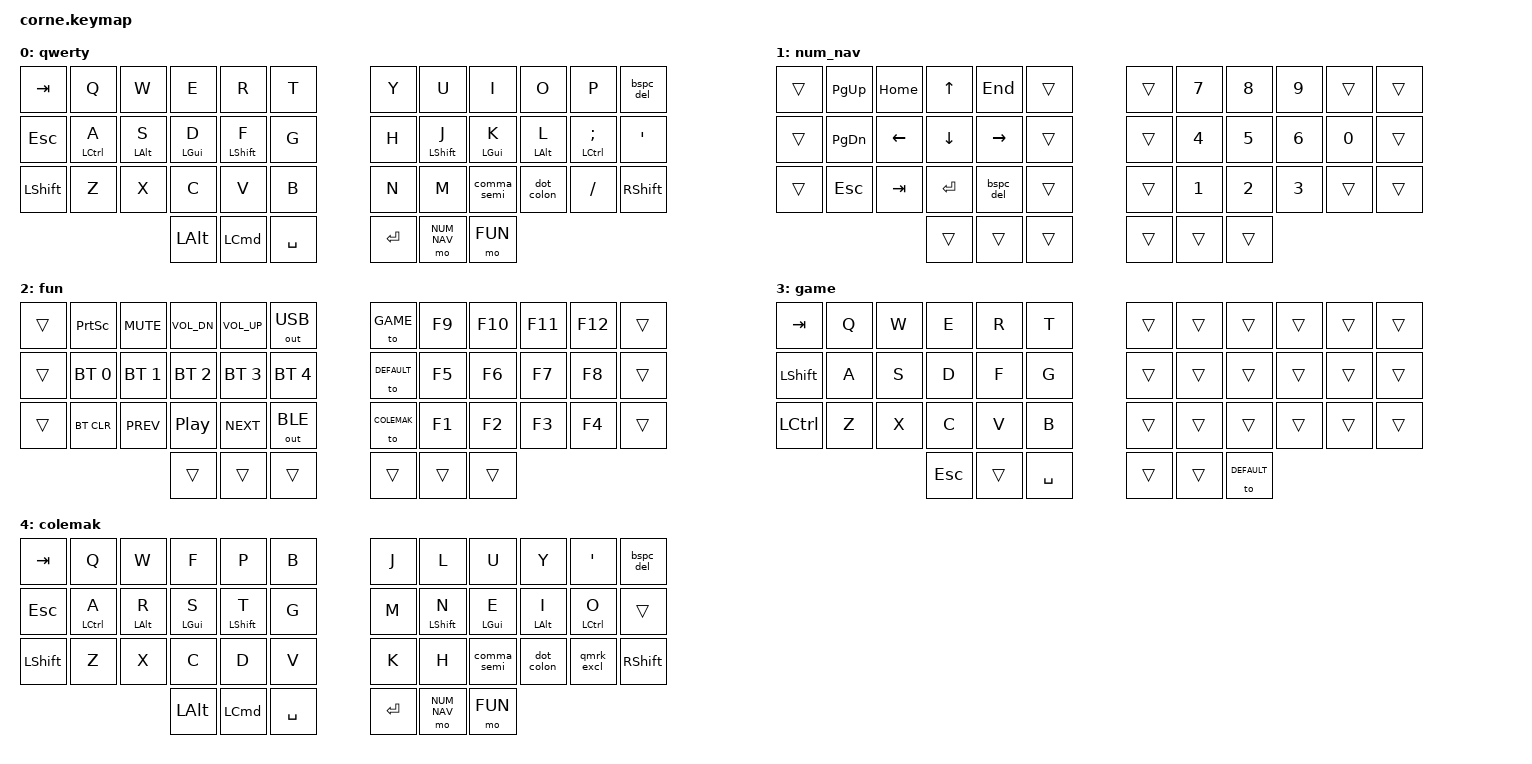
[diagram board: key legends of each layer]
/*
 * Copyright (c) 2020 The ZMK Contributors
 *
 * SPDX-License-Identifier: MIT
 *
 * Adapted from luizrogeriocn/temper-zmk-config for Corne 42.
 *
 * Corne 42 key positions:
 *   0  1  2  3  4  5    |   6  7  8  9 10 11
 *  12 13 14 15 16 17    |  18 19 20 21 22 23
 *  24 25 26 27 28 29    |  30 31 32 33 34 35
 *           36 37 38    |  39 40 41
 */

#include <behaviors.dtsi>
#include <dt-bindings/zmk/bt.h>
#include <dt-bindings/zmk/keys.h>
#include <dt-bindings/zmk/outputs.h>

#define DEFAULT 0
#define NUM_NAV 1
#define FUN     2
#define GAME    3
#define COLEMAK 4

#define COMBO_TERM         30
#define TAPPING_TERM       280
#define QUICK_TAP_TERM     175
#define REQUIRE_PRIOR_IDLE 175

/ {
    conditional_layers { compatible = "zmk,conditional-layers"; };

    behaviors {
        hml: home_row_mod_left {
            compatible = "zmk,behavior-hold-tap";
            #binding-cells = <2>;
            flavor = "hold-preferred";
            tapping-term-ms = <TAPPING_TERM>;
            quick-tap-ms = <QUICK_TAP_TERM>;
            require-prior-idle-ms = <REQUIRE_PRIOR_IDLE>;
            bindings = <&kp>, <&kp>;

            hold-trigger-key-positions = <6 7 8 9 10 18 19 20 21 22 30 31 32 33 34 39 40 41>;
            hold-trigger-on-release;
        };

        hmr: home_row_mod_right {
            compatible = "zmk,behavior-hold-tap";
            #binding-cells = <2>;
            flavor = "balanced";
            tapping-term-ms = <TAPPING_TERM>;
            quick-tap-ms = <QUICK_TAP_TERM>;
            require-prior-idle-ms = <REQUIRE_PRIOR_IDLE>;
            bindings = <&kp>, <&kp>;

            hold-trigger-key-positions = <1 2 3 4 5 13 14 15 16 17 25 26 27 28 29 36 37 38>;
            hold-trigger-on-release;
        };

        bspc_del: backspace_delete {
            compatible = "zmk,behavior-mod-morph";
            #binding-cells = <0>;
            bindings = <&kp BACKSPACE>, <&kp DELETE>;
            mods = <(MOD_LSFT|MOD_RSFT)>;
            keep-mods = <(MOD_RSFT)>;
        };

        super_bspc: super_backspace {
            compatible = "zmk,behavior-mod-morph";
            #binding-cells = <0>;
            bindings = <&kp BACKSPACE>, <&kp LA(BACKSPACE)>;
            mods = <(MOD_LSFT|MOD_RSFT)>;
        };

        smart_shft: smart_shift {
            compatible = "zmk,behavior-mod-morph";
            #binding-cells = <0>;
            bindings = <&kp LSHFT>, <&caps_word>;
            mods = <(MOD_LSFT)>;
        };

        comma_semi: comma_semi {
            compatible = "zmk,behavior-mod-morph";
            #binding-cells = <0>;
            bindings = <&kp COMMA>, <&kp SEMI>;
            mods = <(MOD_LSFT)>;
        };

        dot_colon: dot_colon {
            compatible = "zmk,behavior-mod-morph";
            #binding-cells = <0>;
            bindings = <&kp DOT>, <&kp COLON>;
            mods = <(MOD_LSFT)>;
        };

        qmrk_excl: qmrk_excl {
            compatible = "zmk,behavior-mod-morph";
            #binding-cells = <0>;
            bindings = <&kp QMARK>, <&kp EXCL>;
            mods = <(MOD_LSFT)>;
        };

        slh_morph: slh_morph {
            compatible = "zmk,behavior-mod-morph";
            #binding-cells = <0>;
            bindings = <&kp FSLH>, <&kp BSLH>;
            mods = <(MOD_LSFT)>;
        };

        amps_morph: amps_morph {
            compatible = "zmk,behavior-mod-morph";
            #binding-cells = <0>;
            bindings = <&kp AMPS>, <&kp PIPE>;
            mods = <(MOD_LSFT)>;
        };
    };

    combos {
        compatible = "zmk,combos";

        tilde        { bindings = <&kp TILDE>;        key-positions = <1 13>;  layers = <0 4>; };
        at           { bindings = <&kp AT_SIGN>;      key-positions = <2 14>;  layers = <0 4>; };
        hash         { bindings = <&kp HASH>;         key-positions = <3 15>;  layers = <0 4>; };
        dollar       { bindings = <&kp DOLLAR>;       key-positions = <4 16>;  layers = <0 4>; };
        ampersand    { bindings = <&amps_morph>;      key-positions = <15 27>; layers = <0 4>; };
        asterisk     { bindings = <&kp ASTERISK>;     key-positions = <16 28>; layers = <0 4>; };
        lbrace       { bindings = <&kp LBRC>;         key-positions = <4 5>;   layers = <0 4>; };
        rbrace       { bindings = <&kp RBRC>;         key-positions = <6 7>;   layers = <0 4>; };
        Lbracket     { bindings = <&kp LBKT>;         key-positions = <5 17>;  layers = <0 4>; };
        Lparen       { bindings = <&kp LPAR>;         key-positions = <17 29>; layers = <0 4>; };
        Rbracket     { bindings = <&kp RBKT>;         key-positions = <6 18>;  layers = <0 4>; };
        Rparen       { bindings = <&kp RPAR>;         key-positions = <18 30>; layers = <0 4>; };
        grave        { bindings = <&kp GRAVE>;        key-positions = <22 34>; layers = <0 4>; };
        less_than    { bindings = <&kp LESS_THAN>;    key-positions = <19 31>; layers = <0 4>; };
        greater_than { bindings = <&kp GREATER_THAN>; key-positions = <21 33>; layers = <0 4>; };
        minus        { bindings = <&kp MINUS>;        key-positions = <7 19>;  layers = <0 4>; };
        underscore   { bindings = <&kp UNDER>;        key-positions = <8 20>;  layers = <0 4>; };
        equal        { bindings = <&kp EQUAL>;        key-positions = <9 21>;  layers = <0 4>; };
        plus         { bindings = <&kp PLUS>;         key-positions = <10 22>; layers = <0 4>; };
        combo_tab    { bindings = <&kp TAB>;          key-positions = <26 27>; layers = <0 4>; };
        combo_enter  { bindings = <&kp ENTER>;        key-positions = <31 32>; layers = <0 4>; };
        combo_bspc   { bindings = <&bspc_del>;        key-positions = <32 33>; layers = <0 4>; };
    };

    keymap {
        compatible = "zmk,keymap";

        default_layer {
            display-name = "qwerty";
            bindings = <
&kp TAB    &kp Q         &kp W        &kp E        &kp R         &kp T            &kp Y        &kp U         &kp I        &kp O        &kp P            &bspc_del
&kp ESC    &hml LCTRL A  &hml LALT S  &hml LGUI D  &hml LSHFT F  &kp G            &kp H        &hmr LSHFT J  &hmr LGUI K  &hmr LALT L  &hmr LCTRL SEMI  &kp SQT
&kp LSHFT  &kp Z         &kp X        &kp C        &kp V         &kp B            &kp N        &kp M         &comma_semi  &dot_colon   &kp FSLH         &kp RSHFT
                                      &kp LALT     &kp LCMD      &kp SPACE        &kp ENTER    &mo NUM_NAV   &mo FUN
            >;
        };

        num_nav_layer {
            display-name = "num_nav";
            bindings = <
&trans  &kp PG_UP   &kp HOME  &kp UP_ARROW    &kp END    &trans       &trans  &kp N7  &kp N8  &kp N9  &trans  &trans
&trans  &kp PG_DN   &kp LEFT  &kp DOWN_ARROW  &kp RIGHT  &trans       &trans  &kp N4  &kp N5  &kp N6  &kp N0  &trans
&trans  &kp ESCAPE  &kp TAB   &kp ENTER       &bspc_del  &trans       &trans  &kp N1  &kp N2  &kp N3  &trans  &trans
                              &trans          &trans     &trans       &trans  &trans  &trans
            >;
        };

        fun_layer {
            display-name = "fun";
            bindings = <
&trans  &kp PRINTSCREEN  &kp K_MUTE    &kp C_VOL_DN  &kp C_VOL_UP  &out OUT_USB    &to GAME     &kp F9  &kp F10  &kp F11  &kp F12  &trans
&trans  &bt BT_SEL 0     &bt BT_SEL 1  &bt BT_SEL 2  &bt BT_SEL 3  &bt BT_SEL 4    &to DEFAULT  &kp F5  &kp F6   &kp F7   &kp F8   &trans
&trans  &bt BT_CLR       &kp C_PREV    &kp C_PP      &kp C_NEXT    &out OUT_BLE    &to COLEMAK  &kp F1  &kp F2   &kp F3   &kp F4   &trans
                                       &trans        &trans        &trans          &trans       &trans  &trans
            >;
        };

        game_layer {
            display-name = "game";
            bindings = <
&kp TAB    &kp Q  &kp W  &kp E    &kp R   &kp T        &trans  &trans  &trans  &trans  &trans  &trans
&kp LSHFT  &kp A  &kp S  &kp D    &kp F   &kp G        &trans  &trans  &trans  &trans  &trans  &trans
&kp LCTRL  &kp Z  &kp X  &kp C    &kp V   &kp B        &trans  &trans  &trans  &trans  &trans  &trans
                         &kp ESC  &trans  &kp SPACE    &trans  &trans  &to DEFAULT
            >;
        };

        colemak_layer {
            display-name = "colemak";
            bindings = <
&kp TAB    &kp Q         &kp W        &kp F        &kp P         &kp B            &kp J        &kp L         &kp U        &kp Y        &kp SQT       &bspc_del
&kp ESC    &hml LCTRL A  &hml LALT R  &hml LGUI S  &hml LSHFT T  &kp G            &kp M        &hmr LSHFT N  &hmr LGUI E  &hmr LALT I  &hmr LCTRL O  &trans
&kp LSHFT  &kp Z         &kp X        &kp C        &kp D         &kp V            &kp K        &kp H         &comma_semi  &dot_colon   &qmrk_excl    &kp RSHFT
                                      &kp LALT     &kp LCMD      &kp SPACE        &kp ENTER    &mo NUM_NAV   &mo FUN
            >;
        };
    };
};

&mt {
    tapping-term-ms = <TAPPING_TERM>;
    flavor = "tap-preferred";
    quick-tap-ms = <QUICK_TAP_TERM>;
    require-prior-idle-ms = <REQUIRE_PRIOR_IDLE>;
};

&lt {
    tapping-term-ms = <TAPPING_TERM>;
    flavor = "tap-preferred";
    quick-tap-ms = <QUICK_TAP_TERM>;
};
